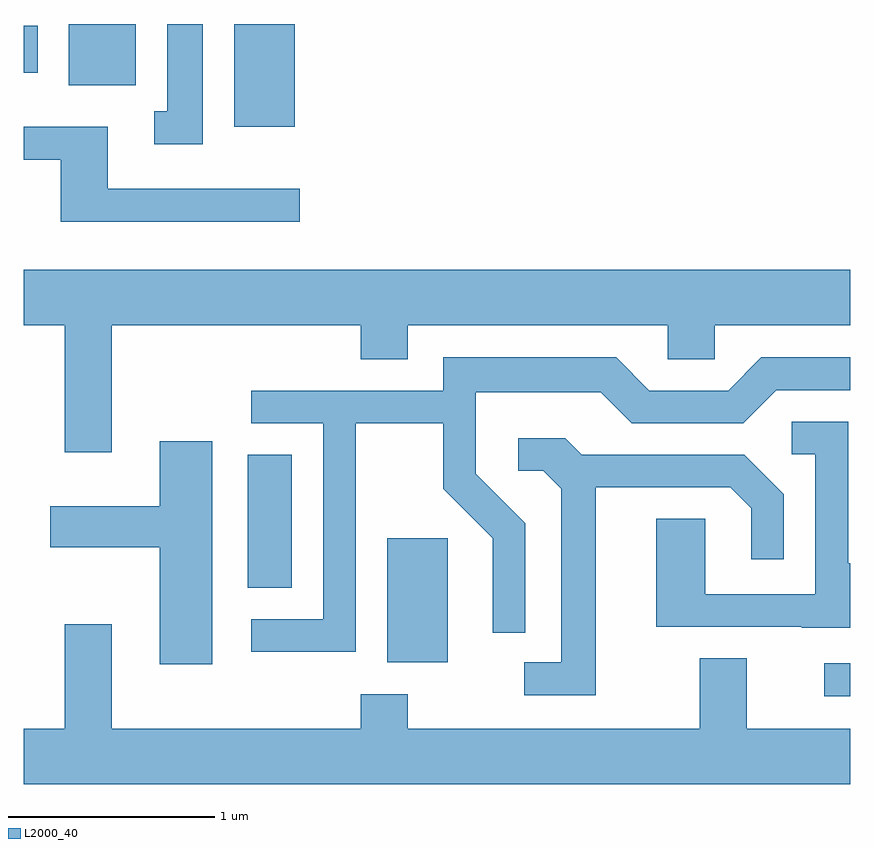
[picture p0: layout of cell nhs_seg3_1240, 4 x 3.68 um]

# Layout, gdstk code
import gdstk
lib = gdstk.Library(unit=1e-6, precision=1e-09)
def R(c, l, rs):  # rectangles x0, y0, x1, y1
    for r in rs: c.add(gdstk.rectangle(r[:2], r[2:], *l))
def P(c, l, *ps):  # polygons
    for p in ps: c.add(gdstk.Polygon(p, *l))
L2000_40 = (2000, 40)

nhs_seg3_1240 = lib.new_cell('nhs_seg3_1240')
R(nhs_seg3_1240, L2000_40, [(225.483,1148.641,225.611,1148.799), (223.371,1148.806,223.664,1149.404), (222.696,1149.166,222.909,1149.809), (222.631,1151.396,222.924,1151.892), (221.831,1151.596,222.154,1151.892), (221.611,1151.656,221.679,1151.884)])
P(nhs_seg3_1240, L2000_40, [(222.479,1151.892),(222.306,1151.892),(222.306,1151.469),(222.243,1151.469),(222.243,1151.311),(222.479,1151.311)],
  [(222.948,1151.094),(222.019,1151.094),(222.019,1151.394),(221.611,1151.394),(221.611,1151.236),(221.791,1151.236),(221.791,1150.936),(222.948,1150.936)],
  [(222.039,1150.436),(223.241,1150.436),(223.241,1150.271),(223.469,1150.271),(223.469,1150.436),(224.726,1150.436),(224.726,1150.271),(224.954,1150.271),(224.954,1150.436),(225.611,1150.436),(225.611,1150.704),(221.611,1150.704),(221.611,1150.436),(221.811,1150.436),(221.811,1149.821),(222.039,1149.821)],
  [(223.219,1149.961),(223.641,1149.961),(223.641,1149.644),(223.881,1149.404),(223.881,1148.948),(224.039,1148.948),(224.039,1149.477),(223.799,1149.717),(223.799,1150.111),(224.404,1150.111),(224.554,1149.961),(225.092,1149.961),(225.252,1150.121),(225.611,1150.121),(225.611,1150.279),(225.179,1150.279),(225.019,1150.119),(224.637,1150.119),(224.477,1150.279),(223.641,1150.279),(223.641,1150.119),(222.713,1150.119),(222.713,1149.961),(223.061,1149.961),(223.061,1149.014),(222.713,1149.014),(222.713,1148.856),(223.219,1148.856)],
  [(225.611,1149.284),(225.599,1149.284),(225.599,1149.969),(225.328,1149.969),(225.328,1149.811),(225.441,1149.811),(225.441,1149.134),(224.909,1149.134),(224.909,1149.499),(224.671,1149.499),(224.671,1148.976),(225.375,1148.976),(225.375,1148.971),(225.611,1148.971)],
  [(224.379,1149.651),(225.029,1149.651),(225.131,1149.549),(225.131,1149.303),(225.289,1149.303),(225.289,1149.617),(225.097,1149.809),(224.312,1149.809),(224.232,1149.889),(224.003,1149.889),(224.003,1149.731),(224.124,1149.731),(224.211,1149.644),(224.211,1148.804),(224.033,1148.804),(224.033,1148.646),(224.379,1148.646)],
  [(222.524,1149.874),(222.271,1149.874),(222.271,1149.559),(221.741,1149.559),(221.741,1149.361),(222.271,1149.361),(222.271,1148.796),(222.524,1148.796)],
  [(225.611,1148.484),(225.109,1148.484),(225.109,1148.824),(224.881,1148.824),(224.881,1148.484),(223.469,1148.484),(223.469,1148.649),(223.241,1148.649),(223.241,1148.484),(222.039,1148.484),(222.039,1148.989),(221.811,1148.989),(221.811,1148.484),(221.611,1148.484),(221.611,1148.216),(225.611,1148.216)])

lib.write_gds('nhs_seg3_1240.gds')
